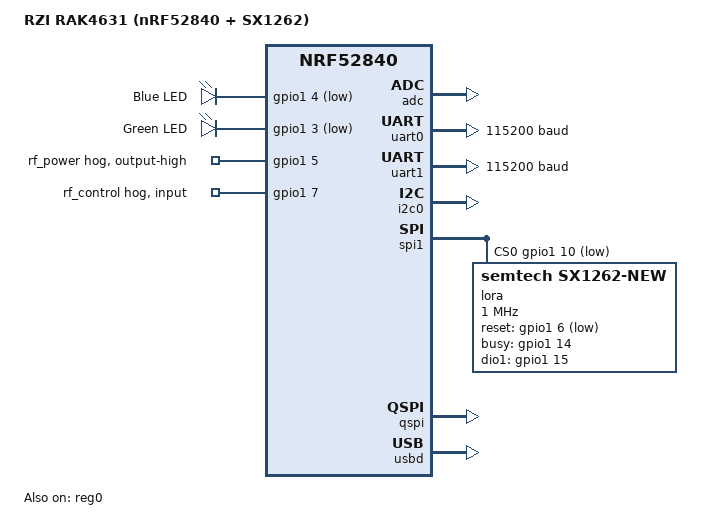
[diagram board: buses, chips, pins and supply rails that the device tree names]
/* SPDX-License-Identifier: Apache-2.0 */

/dts-v1/;
#include <nordic/nrf52840_qiaa.dtsi>
#include <rzi-nrf52840-mcuboot-partition.dtsi>
#include <zephyr/dt-bindings/gpio/gpio.h>
#include <zephyr/dt-bindings/lora/sx126x.h>
#include <zephyr/dt-bindings/usp/sx126x.h>
#include "rzi_rak4631-pinctrl.dtsi"

/ {
	model = "RZI RAK4631 (nRF52840 + SX1262)";
	compatible = "rzi,rzi-rak4631-nrf52840";

	chosen {
		zephyr,console = &uart1;
		zephyr,shell-uart = &uart1;
		zephyr,uart-mcumgr = &uart1;
		zephyr,lorawan-transceiver = &lora;
	};

	leds {
		compatible = "gpio-leds";

		blue_led: led_2 {
			gpios = <&gpio1 4 GPIO_ACTIVE_LOW>;
			label = "Blue LED";
		};

		green_led: led_1 {
			gpios = <&gpio1 3 GPIO_ACTIVE_LOW>;
			label = "Green LED";
		};
	};

	aliases {
		led0 = &blue_led;
		led1 = &green_led;
		lora0 = &lora;
		watchdog0 = &wdt0;
		rzi-at-uart = &cdc_acm_uart0;
	};

	/*
	 * Placeholder OTAA values. Applications override zephyr,user in an
	 * overlay; samples that omit an overlay use these zeros.
	 */
	zephyr,user {
		user-lorawan-device-eui = <0x00 0x00 0x00 0x00 0x00 0x00 0x00 0x00>;
		user-lorawan-join-eui = <0x00 0x00 0x00 0x00 0x00 0x00 0x00 0x00>;
		user-lorawan-gen_app-key = <0x00 0x00 0x00 0x00 0x00 0x00 0x00 0x00
					    0x00 0x00 0x00 0x00 0x00 0x00 0x00 0x00>;
		user-lorawan-app-key = <0x00 0x00 0x00 0x00 0x00 0x00 0x00 0x00
					0x00 0x00 0x00 0x00 0x00 0x00 0x00 0x00>;
		user-lorawan-region = "EU_868";
	};
};

&reg0 {
	status = "okay";
};

&reg1 {
	regulator-initial-mode = <NRF5X_REG_MODE_DCDC>;
};

&adc {
	status = "okay";
};

&uicr {
	gpio-as-nreset;
	nfct-pins-as-gpios;
};

&gpiote {
	status = "okay";
};

&gpio0 {
	status = "okay";
};

&gpio1 {
	status = "okay";

	rf_power: rf-power {
		gpio-hog;
		gpios = <5 GPIO_ACTIVE_HIGH>;
		output-high;
	};

	rf_control: rf-control {
		gpio-hog;
		gpios = <7 GPIO_ACTIVE_HIGH>;
		input;
	};
};

&uart0 {
	compatible = "nordic,nrf-uart";
	status = "okay";
	current-speed = <115200>;
	pinctrl-0 = <&uart0_default>;
	pinctrl-1 = <&uart0_sleep>;
	pinctrl-names = "default", "sleep";
};

&uart1 {
	compatible = "nordic,nrf-uarte";
	current-speed = <115200>;
	status = "okay";
	pinctrl-0 = <&uart1_default>;
	pinctrl-1 = <&uart1_sleep>;
	pinctrl-names = "default", "sleep";
};

&i2c0 {
	compatible = "nordic,nrf-twi";
	status = "okay";
	pinctrl-0 = <&i2c0_default>;
	pinctrl-1 = <&i2c0_sleep>;
	pinctrl-names = "default", "sleep";
};

&i2c1 {
	compatible = "nordic,nrf-twi";
	pinctrl-0 = <&i2c1_default>;
	pinctrl-1 = <&i2c1_sleep>;
	pinctrl-names = "default", "sleep";
};

&spi1 {
	compatible = "nordic,nrf-spi";
	status = "okay";
	cs-gpios = <&gpio1 10 GPIO_ACTIVE_LOW>;
	pinctrl-0 = <&spi1_default>;
	pinctrl-1 = <&spi1_sleep>;
	pinctrl-names = "default", "sleep";

	lora: lora@0 {
		compatible = "semtech,sx1262-new";
		reg = <0>;
		reset-gpios = <&gpio1 6 GPIO_ACTIVE_LOW>;
		busy-gpios = <&gpio1 14 GPIO_ACTIVE_HIGH>;
		dio1-gpios = <&gpio1 15 (GPIO_ACTIVE_HIGH | GPIO_PULL_DOWN)>;
		dio2-as-rf-switch;
		dio3-as-tcxo-control;
		tcxo-voltage = <SX126X_TCXO_SUPPLY_3_3V>;
		tcxo-wakeup-time = <5>;
		reg-mode = <SX126X_REG_MODE_DCDC>;
		spi-max-frequency = <1000000>;
	};
};

&qspi {
	status = "okay";
	pinctrl-0 = <&qspi_default>;
	pinctrl-1 = <&qspi_sleep>;
	pinctrl-names = "default", "sleep";
};

zephyr_udc0: &usbd {
	compatible = "nordic,nrf-usbd";
	status = "okay";

	cdc_acm_uart0: cdc_acm_uart0 {
		compatible = "zephyr,cdc-acm-uart";
	};
};
